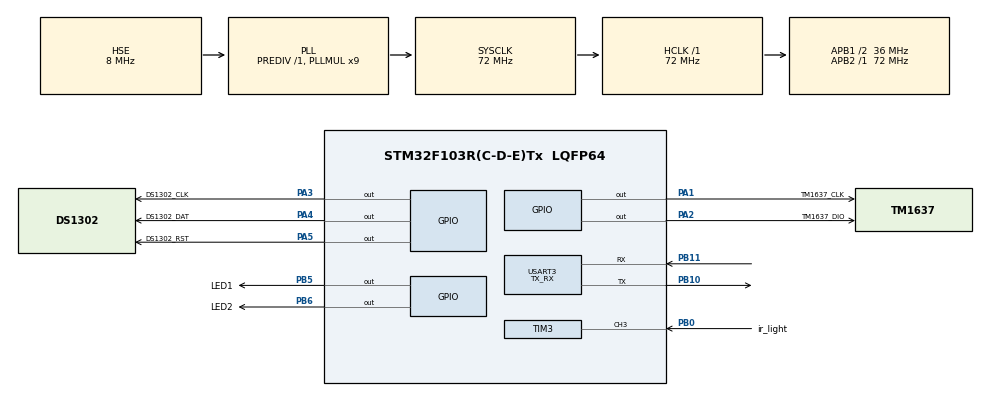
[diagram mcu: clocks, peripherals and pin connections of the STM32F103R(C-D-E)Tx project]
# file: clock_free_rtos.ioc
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FREERTOS.Tasks01=LED_Task,-3,128,StartLedTask,Default,NULL,Dynamic,NULL,NULL;LED2_Task,-3,128,StartLed2Task,Default,NULL,Dynamic,NULL,NULL
Mcu.Family=STM32F1
Mcu.Name=STM32F103R(C-D-E)Tx
Mcu.Package=LQFP64
NVIC.PriorityGroup=NVIC_PRIORITYGROUP_4
NVIC.TIM2_IRQn=true\:15\:0\:false\:false\:true\:false\:false\:true\:true
NVIC.TIM3_IRQn=true\:5\:0\:true\:false\:true\:true\:true\:true\:true
NVIC.TimeBase=TIM2_IRQn
NVIC.TimeBaseIP=TIM2
NVIC.USART3_IRQn=true\:5\:0\:true\:false\:true\:true\:true\:true\:true
PA1.GPIO_Label=TM1637_CLK
PA1.Signal=GPIO_Output
PA13.Mode=Serial_Wire
PA13.Signal=SYS_JTMS-SWDIO
PA14.Mode=Serial_Wire
PA14.Signal=SYS_JTCK-SWCLK
PA2.GPIO_Label=TM1637_DIO
PA2.Signal=GPIO_Output
PA3.GPIO_Label=DS1302_CLK
PA3.Signal=GPIO_Output
PA4.GPIO_Label=DS1302_DAT
PA4.Signal=GPIO_Output
PA5.GPIO_Label=DS1302_RST
PA5.Signal=GPIO_Output
PB0.GPIO_Label=ir_light
PB0.Signal=S_TIM3_CH3
PB10.Mode=Asynchronous
PB10.Signal=USART3_TX
PB11.Mode=Asynchronous
PB11.Signal=USART3_RX
PB5.GPIO_Label=LED1
PB5.Signal=GPIO_Output
PB6.GPIO_Label=LED2
PB6.Signal=GPIO_Output
PC14-OSC32_IN.Mode=LSE-External-Oscillator
PC14-OSC32_IN.Signal=RCC_OSC32_IN
PC15-OSC32_OUT.Mode=LSE-External-Oscillator
PC15-OSC32_OUT.Signal=RCC_OSC32_OUT
PD0-OSC_IN.Mode=HSE-External-Oscillator
PD0-OSC_IN.Signal=RCC_OSC_IN
PD1-OSC_OUT.Mode=HSE-External-Oscillator
PD1-OSC_OUT.Signal=RCC_OSC_OUT
ProjectManager.HeapSize=0x200
ProjectManager.StackSize=0x400
ProjectManager.TargetToolchain=STM32CubeIDE
RCC.AHBFreq_Value=72000000
RCC.APB1CLKDivider=RCC_HCLK_DIV2
RCC.APB1Freq_Value=36000000
RCC.APB1TimFreq_Value=72000000
RCC.APB2Freq_Value=72000000
RCC.APB2TimFreq_Value=72000000
RCC.HCLKFreq_Value=72000000
RCC.PLLMUL=RCC_PLL_MUL9
RCC.PLLSourceVirtual=RCC_PLLSOURCE_HSE
RCC.SYSCLKFreq_VALUE=72000000
RCC.SYSCLKSource=RCC_SYSCLKSOURCE_PLLCLK
RCC.USBFreq_Value=72000000
SH.S_TIM3_CH3.0=TIM3_CH3,Input_Capture3_from_TI3
TIM3.Channel-Input_Capture3_from_TI3=TIM_CHANNEL_3
TIM3.ICPrescaler-Input_Capture3_from_TI3=TIM_ICPSC_DIV1
TIM3.Prescaler=71
USART3.Mode=MODE_TX_RX
USART3.VirtualMode=VM_ASYNC
VP_FREERTOS_VS_CMSIS_V1.Mode=CMSIS_V1
VP_SYS_VS_tim2.Mode=TIM2
VP_TIM3_VS_ClockSourceINT.Mode=Internal
board=custom

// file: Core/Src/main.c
/* USER CODE BEGIN Header */
/**
  ******************************************************************************
  * @file           : main.c
  * @brief          : Main program body
  ******************************************************************************
  * @attention
  *
  * Copyright (c) 2026 STMicroelectronics.
  * All rights reserved.
  *
  * This software is licensed under terms that can be found in the LICENSE file
  * in the root directory of this software component.
  * If no LICENSE file comes with this software, it is provided AS-IS.
  *
  ******************************************************************************
  */
/* USER CODE END Header */
#include "main.h"
#include "cmsis_os.h"

/* USER CODE BEGIN Includes */
#include "tm1637.h"
#include "ds1302.h"
#include "hx1838.h"
/* USER CODE END Includes */

TIM_HandleTypeDef htim3;

UART_HandleTypeDef huart3;

osThreadId LED_TaskHandle;
osThreadId LED2_TaskHandle;
/* USER CODE BEGIN PV */
static volatile uint8_t ir_key = 0; // 红外按键标志：0=无，1/2/3=调时/分/秒，4=同步网络时间到 DS1302

// ESP8266 串口接收缓冲（USART3，中断写 / 任务读）
static uint8_t uart_rx_byte = 0;             // 单字节中断接收缓冲
static char uart_line[32];                   // 一行接收缓冲
static volatile uint8_t uart_line_len = 0;   // 已接收字节数
static volatile uint8_t uart_line_ready = 0; // 1=收到完整一行
static volatile uint8_t rx_led_flag = 0;     // 1=收到一行 ESP 数据，LED2 任务消费后清零

// ESP8266 解析出的时间（仅任务上下文访问）
static uint8_t esp_hour = 0;
static uint8_t esp_minute = 0;
static uint8_t esp_year = 0;           // 年（2位，0-99，表示 2000-2099）
static uint8_t esp_month = 0;
static uint8_t esp_date = 0;
static uint8_t esp_second = 0;
static uint8_t esp_weekday = 0;        // 星期（1=周日 .. 7=周六）
static uint8_t esp_has_time = 0;       // 1=已收到过 ESP 时间
static uint32_t esp_last_rx_tick = 0;  // 最后收到 ESP 时间的时间戳(ms)
/* USER CODE END PV */

void SystemClock_Config(void);
static void MX_GPIO_Init(void);
static void MX_TIM3_Init(void);
static void MX_USART3_UART_Init(void);
void StartLedTask(void const * argument);
void StartLed2Task(void const * argument);

/* USER CODE BEGIN PFP */
void StartClockTask(void const * argument);
/* USER CODE END PFP */

int main(void)
{

  /* MCU Configuration--------------------------------------------------------*/

  /* Reset of all peripherals, Initializes the Flash interface and the Systick. */
  HAL_Init();

  /* Configure the system clock */
  SystemClock_Config();

  /* Initialize all configured peripherals */
  MX_GPIO_Init();
  MX_TIM3_Init();
  MX_USART3_UART_Init();
  /* USER CODE BEGIN 2 */
  TM1637_Init();
  TM1637_SetBrightness(TM1637_BRIGHTNESS_7);
  DS1302_Init();
  HX1838_Init();
  HAL_UART_Receive_IT(&huart3, &uart_rx_byte, 1); // 启动中断接收（每次1字节）
  /* USER CODE END 2 */

  /* Create the thread(s) */
  /* definition and creation of LED_Task */
  osThreadDef(LED_Task, StartLedTask, osPriorityIdle, 0, 128);
  LED_TaskHandle = osThreadCreate(osThread(LED_Task), NULL);

  /* definition and creation of LED2_Task */
  osThreadDef(LED2_Task, StartLed2Task, osPriorityIdle, 0, 128);
  LED2_TaskHandle = osThreadCreate(osThread(LED2_Task), NULL);

  /* USER CODE BEGIN RTOS_THREADS */
  /* add threads, ... */
  osThreadDef(clockTask, StartClockTask, osPriorityNormal, 0, 128);
  osThreadCreate(osThread(clockTask), NULL);
  /* USER CODE END RTOS_THREADS */

  /* Start scheduler */
  osKernelStart();

  /* We should never get here as control is now taken by the scheduler */

  /* Infinite loop */
  while (1)
  {

  }
}

void SystemClock_Config(void)
{
  RCC_OscInitTypeDef RCC_OscInitStruct = {0};
  RCC_ClkInitTypeDef RCC_ClkInitStruct = {0};

  /** Initializes the RCC Oscillators according to the specified parameters
  * in the RCC_OscInitTypeDef structure.
  */
  RCC_OscInitStruct.OscillatorType = RCC_OSCILLATORTYPE_HSE;
  RCC_OscInitStruct.HSEState = RCC_HSE_ON;
  RCC_OscInitStruct.HSEPredivValue = RCC_HSE_PREDIV_DIV1;
  RCC_OscInitStruct.HSIState = RCC_HSI_ON;
  RCC_OscInitStruct.PLL.PLLState = RCC_PLL_ON;
  RCC_OscInitStruct.PLL.PLLSource = RCC_PLLSOURCE_HSE;
  RCC_OscInitStruct.PLL.PLLMUL = RCC_PLL_MUL9;
  if (HAL_RCC_OscConfig(&RCC_OscInitStruct) != HAL_OK)
  {
    Error_Handler();
  }

  /** Initializes the CPU, AHB and APB buses clocks
  */
  RCC_ClkInitStruct.ClockType = RCC_CLOCKTYPE_HCLK|RCC_CLOCKTYPE_SYSCLK
                              |RCC_CLOCKTYPE_PCLK1|RCC_CLOCKTYPE_PCLK2;
  RCC_ClkInitStruct.SYSCLKSource = RCC_SYSCLKSOURCE_PLLCLK;
  RCC_ClkInitStruct.AHBCLKDivider = RCC_SYSCLK_DIV1;
  RCC_ClkInitStruct.APB1CLKDivider = RCC_HCLK_DIV2;
  RCC_ClkInitStruct.APB2CLKDivider = RCC_HCLK_DIV1;

  if (HAL_RCC_ClockConfig(&RCC_ClkInitStruct, FLASH_LATENCY_2) != HAL_OK)
  {
    Error_Handler();
  }
}

static void MX_TIM3_Init(void)
{

  TIM_ClockConfigTypeDef sClockSourceConfig = {0};
  TIM_MasterConfigTypeDef sMasterConfig = {0};
  TIM_IC_InitTypeDef sConfigIC = {0};

  htim3.Instance = TIM3;
  htim3.Init.Prescaler = 71;
  htim3.Init.CounterMode = TIM_COUNTERMODE_UP;
  htim3.Init.Period = 65535;
  htim3.Init.ClockDivision = TIM_CLOCKDIVISION_DIV1;
  htim3.Init.AutoReloadPreload = TIM_AUTORELOAD_PRELOAD_DISABLE;
  if (HAL_TIM_Base_Init(&htim3) != HAL_OK)
  {
    Error_Handler();
  }
  sClockSourceConfig.ClockSource = TIM_CLOCKSOURCE_INTERNAL;
  if (HAL_TIM_ConfigClockSource(&htim3, &sClockSourceConfig) != HAL_OK)
  {
    Error_Handler();
  }
  if (HAL_TIM_IC_Init(&htim3) != HAL_OK)
  {
    Error_Handler();
  }
  sMasterConfig.MasterOutputTrigger = TIM_TRGO_RESET;
  sMasterConfig.MasterSlaveMode = TIM_MASTERSLAVEMODE_DISABLE;
  if (HAL_TIMEx_MasterConfigSynchronization(&htim3, &sMasterConfig) != HAL_OK)
  {
    Error_Handler();
  }
  sConfigIC.ICPolarity = TIM_INPUTCHANNELPOLARITY_RISING;
  sConfigIC.ICSelection = TIM_ICSELECTION_DIRECTTI;
  sConfigIC.ICPrescaler = TIM_ICPSC_DIV1;
  sConfigIC.ICFilter = 0;
  if (HAL_TIM_IC_ConfigChannel(&htim3, &sConfigIC, TIM_CHANNEL_3) != HAL_OK)
  {
    Error_Handler();
  }

}

static void MX_USART3_UART_Init(void)
{

  huart3.Instance = USART3;
  huart3.Init.BaudRate = 115200;
  huart3.Init.WordLength = UART_WORDLENGTH_8B;
  huart3.Init.StopBits = UART_STOPBITS_1;
  huart3.Init.Parity = UART_PARITY_NONE;
  huart3.Init.Mode = UART_MODE_TX_RX;
  huart3.Init.HwFlowCtl = UART_HWCONTROL_NONE;
  huart3.Init.OverSampling = UART_OVERSAMPLING_16;
  if (HAL_UART_Init(&huart3) != HAL_OK)
  {
    Error_Handler();
  }

}

static void MX_GPIO_Init(void)
{
  GPIO_InitTypeDef GPIO_InitStruct = {0};

  /* GPIO Ports Clock Enable */
  __HAL_RCC_GPIOC_CLK_ENABLE();
  __HAL_RCC_GPIOD_CLK_ENABLE();
  __HAL_RCC_GPIOA_CLK_ENABLE();
  __HAL_RCC_GPIOB_CLK_ENABLE();

  /*Configure GPIO pin Output Level */
  HAL_GPIO_WritePin(GPIOA, TM1637_CLK_Pin|TM1637_DIO_Pin|DS1302_CLK_Pin|DS1302_DAT_Pin
                          |DS1302_RST_Pin, GPIO_PIN_RESET);

  /*Configure GPIO pin Output Level */
  HAL_GPIO_WritePin(GPIOB, LED1_Pin|LED2_Pin, GPIO_PIN_RESET);

  /*Configure GPIO pins : TM1637_CLK_Pin TM1637_DIO_Pin DS1302_CLK_Pin DS1302_DAT_Pin
                           DS1302_RST_Pin */
  GPIO_InitStruct.Pin = TM1637_CLK_Pin|TM1637_DIO_Pin|DS1302_CLK_Pin|DS1302_DAT_Pin
                          |DS1302_RST_Pin;
  GPIO_InitStruct.Mode = GPIO_MODE_OUTPUT_PP;
  GPIO_InitStruct.Pull = GPIO_NOPULL;
  GPIO_InitStruct.Speed = GPIO_SPEED_FREQ_LOW;
  HAL_GPIO_Init(GPIOA, &GPIO_InitStruct);

  /*Configure GPIO pins : LED1_Pin LED2_Pin */
  GPIO_InitStruct.Pin = LED1_Pin|LED2_Pin;
  GPIO_InitStruct.Mode = GPIO_MODE_OUTPUT_PP;
  GPIO_InitStruct.Pull = GPIO_NOPULL;
  GPIO_InitStruct.Speed = GPIO_SPEED_FREQ_LOW;
  HAL_GPIO_Init(GPIOB, &GPIO_InitStruct);

}

/* USER CODE BEGIN 4 */

// USART3 接收完成回调（中断上下文，务必简短）
void HAL_UART_RxCpltCallback(UART_HandleTypeDef *huart)
{
  if (huart->Instance == USART3)
  {
    if (uart_rx_byte == '\n')
    {
      // 收到换行符：一行结束
      rx_led_flag = 1;   // 通知 LED2 任务：收到一行数据，闪一下
      if (uart_line_len >= 19)   // "YYYY-MM-DD HH:MM:SS" 至少 19 字符
      {
        uart_line[uart_line_len] = '\0';
        uart_line_ready = 1;
      }
      uart_line_len = 0;
    }
    else if (uart_rx_byte != '\r')   // 忽略回车符
    {
      if (uart_line_len < sizeof(uart_line) - 1)
      {
        uart_line[uart_line_len++] = (char)uart_rx_byte;
      }
      else
      {
        uart_line_len = 0;   // 溢出丢弃，重新开始
      }
    }
    // 重新启动下一次接收
    HAL_UART_Receive_IT(&huart3, &uart_rx_byte, 1);
  }
}

// 计算星期（Sakamoto 算法），返回 DS1302 的 day 字段（1=周日 ... 7=周六）
static uint8_t ESP_CalcWeekday(uint16_t y, uint8_t m, uint8_t d)
{
  static const int t[] = {0, 3, 2, 5, 0, 3, 5, 1, 4, 6, 2, 4};
  int yy = y;
  yy -= (m < 3);
  int w = (yy + yy / 4 - yy / 100 + yy / 400 + t[m - 1] + d) % 7; // 0=周日
  return (uint8_t)(w + 1);
}

// 解析 "YYYY-MM-DD HH:MM:SS"，成功返回 1
static uint8_t ESP_ParseTime(uint16_t *year, uint8_t *month, uint8_t *date,
                             uint8_t *hour, uint8_t *minute, uint8_t *second)
{
  const char *s = uart_line;
  // 校验分隔符位置
  if (s[4] != '-' || s[7] != '-' || s[10] != ' ' || s[13] != ':' || s[16] != ':')
    return 0;

  *year   = (uint16_t)((s[0]-'0')*1000 + (s[1]-'0')*100 + (s[2]-'0')*10 + (s[3]-'0'));
  *month  = (uint8_t)((s[5]-'0')*10 + (s[6]-'0'));
  *date   = (uint8_t)((s[8]-'0')*10 + (s[9]-'0'));
  *hour   = (uint8_t)((s[11]-'0')*10 + (s[12]-'0'));
  *minute = (uint8_t)((s[14]-'0')*10 + (s[15]-'0'));
  *second = (uint8_t)((s[17]-'0')*10 + (s[18]-'0'));

  // 范围校验
  if (*month < 1 || *month > 12) return 0;
  if (*date < 1 || *date > 31)   return 0;
  if (*hour > 23 || *minute > 59 || *second > 59) return 0;
  return 1;
}

// 红外接收完成回调（在 TIM3 中断上下文执行，务必简短）
void HX1838_OnReceive(uint8_t addr, uint8_t cmd, uint8_t repeat)
{
    (void)addr;
    if (repeat) return; // 忽略重复码

    switch (cmd) {
        case IR_KEY_1: ir_key = 1; break;
        case IR_KEY_2: ir_key = 2; break;
        case IR_KEY_3: ir_key = 3; break;
        case IR_KEY_4: ir_key = 4; break;
        default: break;
    }
}

// 把缓存的 ESP 网络时间写回 DS1302（23:50 自动校准与按键4 手动同步共用）
static void ESP_SyncToDS1302(void)
{
  if (!esp_has_time) return; // 还没收到过网络时间，无法同步

  DS1302_Time_t t;
  t.year   = esp_year;
  t.month  = esp_month;
  t.date   = esp_date;
  t.hour   = esp_hour;
  t.minute = esp_minute;
  t.second = esp_second;
  t.day    = esp_weekday;
  DS1302_SetTime(&t);
}

// 主时钟任务：显示 HH:MM，ESP 时间优先，DS1302 兜底，每天 23:50 校准一次
void StartClockTask(void const * argument)
{
  DS1302_Time_t time;
  uint8_t hour, minute;
  static uint8_t colon_state = 0;          // 冒号当前亮灭
  static uint8_t colon_tick = 0;           // 100ms 计数，5 次 = 500ms 翻转一次
  static uint8_t esp_calibrated_today = 0; // 每天 23:50 是否已校准

  for(;;)
  {
    // ---- 1. 处理 ESP8266 发来的时间 ----
    if (uart_line_ready)
    {
      uint16_t year;
      uint8_t month, date, h, m, s;
      uart_line_ready = 0;
      if (ESP_ParseTime(&year, &month, &date, &h, &m, &s))
      {
        esp_hour    = h;
        esp_minute  = m;
        esp_year    = (uint8_t)(year % 100);
        esp_month   = month;
        esp_date    = date;
        esp_second  = s;
        esp_weekday = ESP_CalcWeekday(year, month, date);
        esp_has_time = 1;
        esp_last_rx_tick = HAL_GetTick();

        // 每天 23:50 用 ESP 时间校准一次 DS1302
        if (h == 23 && m == 50)
        {
          if (!esp_calibrated_today)
          {
            ESP_SyncToDS1302();
            esp_calibrated_today = 1;
          }
        }
        else
        {
          esp_calibrated_today = 0;   // 离开 23:50，复位标志供下一天使用
        }
      }
    }

    // ---- 1.5 按键4：手动把网络时间同步到 DS1302（仅当 3 秒内收到过，保证时间新鲜） ----
    if (ir_key == 4)
    {
      ir_key = 0;
      if (esp_has_time && (HAL_GetTick() - esp_last_rx_tick) < 3000U)
      {
        ESP_SyncToDS1302();
      }
    }

    // ---- 2. 选择时间源：ESP 在发(3秒内有数据)就用 ESP，否则用 DS1302 ----
    if (esp_has_time && (HAL_GetTick() - esp_last_rx_tick) < 3000U)
    {
      hour   = esp_hour;
      minute = esp_minute;
      ir_key = 0; // 丢弃 ESP 在线期间误按的红外键，避免标志滞留到掉线后突然调时
    }
    else
    {
      DS1302_GetTime(&time);
      hour   = time.hour;
      minute = time.minute;

      // 红外按键调整（仅当 DS1302 作为显示源时生效）
      if (ir_key != 0)
      {
        uint8_t key = ir_key;
        ir_key = 0;

        if (key == 1) {
          time.hour++;
          if (time.hour >= 24) time.hour = 0;
        } else if (key == 2) {
          time.minute++;
          if (time.minute >= 60) time.minute = 0;
        } else if (key == 3) {
          time.second = 0;
        }
        DS1302_SetTime(&time);
        hour   = time.hour;
        minute = time.minute;
      }
    }

    // ---- 3. 冒号闪烁：本地计数，与时间源解耦 ----
    colon_tick++;
    if (colon_tick >= 5)
    {
      colon_tick = 0;
      colon_state = !colon_state;
    }

    // ---- 4. 显示 HH:MM ----
    TM1637_SetDigit(0, hour / 10, 0);
    TM1637_SetDigit(1, hour % 10, colon_state);
    TM1637_SetDigit(2, minute / 10, 0);
    TM1637_SetDigit(3, minute % 10, 0);

    osDelay(100);
  }
}

/* USER CODE END 4 */

void StartLedTask(void const * argument)
{
  /* USER CODE BEGIN 5 */
  /* Infinite loop */
  for(;;)
  {
    HAL_GPIO_TogglePin(LED1_GPIO_Port, LED1_Pin);
    osDelay(500);
  }
  /* USER CODE END 5 */
}

void StartLed2Task(void const * argument)
{
  /* USER CODE BEGIN StartLed2Task */
  HAL_GPIO_WritePin(LED2_GPIO_Port, LED2_Pin, GPIO_PIN_SET);   // 初始灭（LED 低电平点亮）

  /* Infinite loop */
  for(;;)
  {
    if (rx_led_flag)
    {
      rx_led_flag = 0;
      HAL_GPIO_WritePin(LED2_GPIO_Port, LED2_Pin, GPIO_PIN_RESET); // 亮（低电平）
      osDelay(500);
      HAL_GPIO_WritePin(LED2_GPIO_Port, LED2_Pin, GPIO_PIN_SET);   // 灭（高电平）
    }
    osDelay(10);   // 轮询间隔
  }
  /* USER CODE END StartLed2Task */
}

void HAL_TIM_PeriodElapsedCallback(TIM_HandleTypeDef *htim)
{
  if (htim->Instance == TIM2)
  {
    HAL_IncTick();
  }
}

void Error_Handler(void)
{
  __disable_irq();
  while (1)
  {
  }
}
